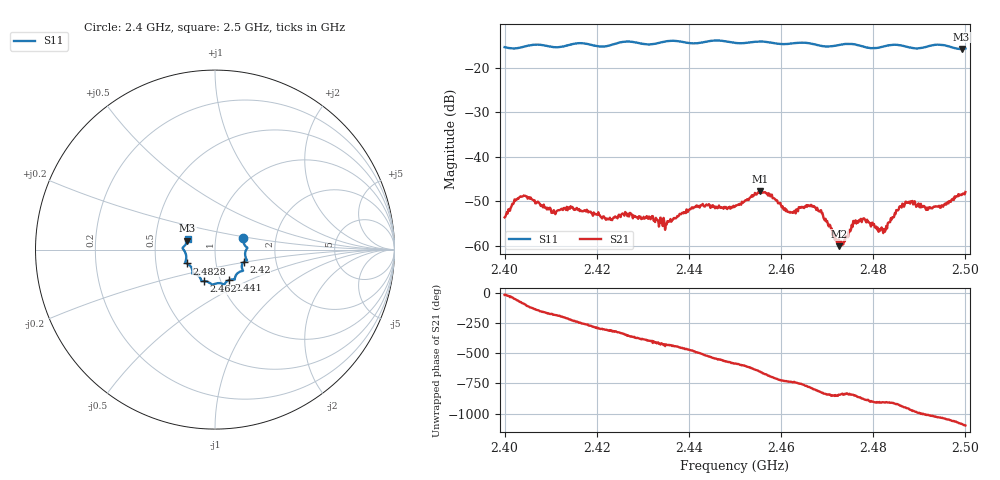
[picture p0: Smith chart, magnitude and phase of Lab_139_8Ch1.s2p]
# Hz S RI R 50
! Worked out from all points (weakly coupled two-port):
!   601 points, 2.4 GHz to 2.5 GHz, reference 50 ohm
!   highest |S21| = -47.71 dB at 2.4555 GHz (marker M1); lowest = -60.1 dB at 2.4727 GHz (marker M2)
!   lowest |S11| = -15.8 dB at 2.4992 GHz (marker M3), VSWR 1.39, Z = 36.5 + j3.67 ohm
!   |S11| at or under -10 dB: start of sweep to end of sweep
!   S12 and S22 are empty: the file has one direction only
!   S11 on the Smith chart (normalised r, x): 2.4 GHz: 1.36, +0.18; 2.42 GHz: 1.36, -0.20; 2.441 GHz: 1.10, -0.39; 2.462 GHz: 0.84, -0.30; 2.4828 GHz: 0.72, -0.11; 2.5 GHz: 0.73, +0.09
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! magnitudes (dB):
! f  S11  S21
! 2.4 GHz  -15.4  -53.6
! 2.404 GHz  -15.4  -48.8
! 2.4107 GHz  -15.4  -52.0
! 2.4167 GHz  -14.5  -52.1
! 2.42 GHz  -15.2  -53.0
! 2.4333 GHz  -14.5  -54.4
! 2.4353 GHz  -14.1  -54.4
! 2.441 GHz  -14.6  -51.5
! 2.45 GHz  -14.5  -51.2
! 2.4555 GHz  -14.2  -47.7
! 2.462 GHz  -14.6  -52.4
! 2.4667 GHz  -14.6  -51.1
! 2.4687 GHz  -15.1  -52.0
! 2.4727 GHz  -14.9  -60.1
! 2.4758 GHz  -14.8  -54.9
! 2.4777 GHz  -15.2  -54.0
! 2.4828 GHz  -15.1  -55.5
! 2.4833 GHz  -15.0  -54.7
! 2.4873 GHz  -15.3  -50.3
! 2.4923 GHz  -15.1  -51.3
! 2.4992 GHz  -15.8  -48.6
! 2.5 GHz  -15.7  -47.9
